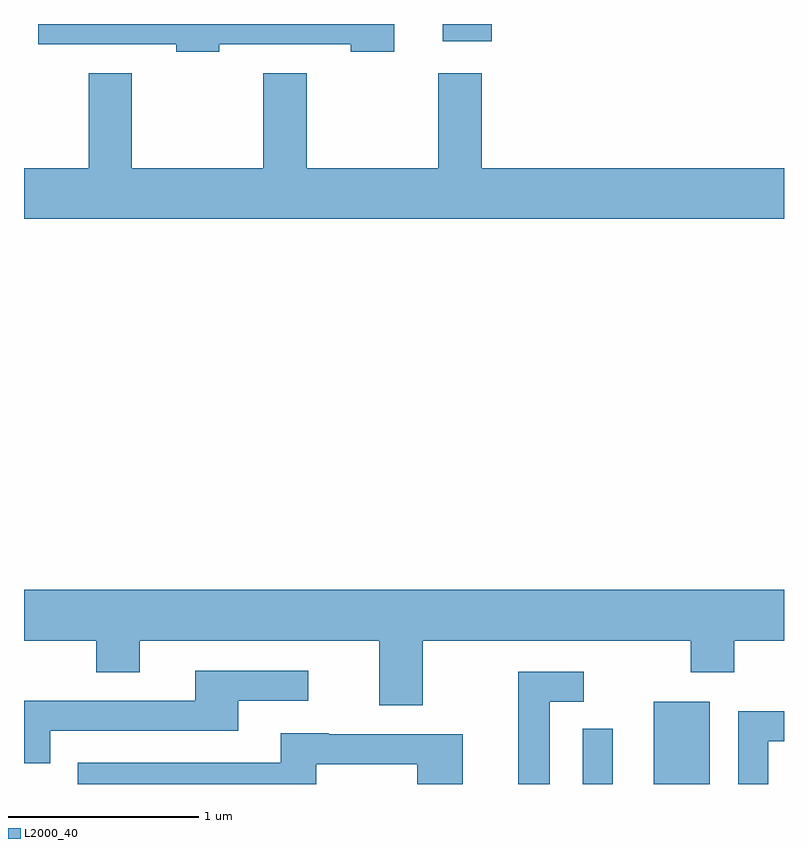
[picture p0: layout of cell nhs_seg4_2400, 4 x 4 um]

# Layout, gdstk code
import gdstk
lib = gdstk.Library(unit=1e-6, precision=1e-09)
def R(c, l, rs):  # rectangles x0, y0, x1, y1
    for r in rs: c.add(gdstk.rectangle(r[:2], r[2:], *l))
def P(c, l, *ps):  # polygons
    for p in ps: c.add(gdstk.Polygon(p, *l))
L2000_40 = (2000, 40)

nhs_seg4_2400 = lib.new_cell('nhs_seg4_2400')
R(nhs_seg4_2400, L2000_40, [(258.551,1293.982,258.709,1294.273), (258.926,1293.982,259.219,1294.414), (257.816,1297.891,258.074,1297.982)])
P(nhs_seg4_2400, L2000_40, [(256.639,1297.876),(257.331,1297.876),(257.331,1297.836),(257.559,1297.836),(257.559,1297.982),(255.686,1297.982),(255.686,1297.876),(256.411,1297.876),(256.411,1297.836),(256.639,1297.836)],
  [(259.611,1297.224),(258.019,1297.224),(258.019,1297.724),(257.791,1297.724),(257.791,1297.224),(257.099,1297.224),(257.099,1297.724),(256.871,1297.724),(256.871,1297.224),(256.179,1297.224),(256.179,1297.724),(255.951,1297.724),(255.951,1297.224),(255.611,1297.224),(255.611,1296.956),(259.611,1296.956)],
  [(257.709,1294.736),(259.121,1294.736),(259.121,1294.571),(259.349,1294.571),(259.349,1294.736),(259.611,1294.736),(259.611,1295.004),(255.611,1295.004),(255.611,1294.736),(255.991,1294.736),(255.991,1294.571),(256.219,1294.571),(256.219,1294.736),(257.481,1294.736),(257.481,1294.396),(257.709,1294.396)],
  [(255.749,1294.261),(256.739,1294.261),(256.739,1294.421),(257.108,1294.421),(257.108,1294.579),(256.511,1294.579),(256.511,1294.419),(255.611,1294.419),(255.611,1294.091),(255.749,1294.091)],
  [(258.379,1294.416),(258.558,1294.416),(258.558,1294.574),(258.211,1294.574),(258.211,1293.982),(258.379,1293.982)],
  [(259.529,1294.206),(259.611,1294.206),(259.611,1294.364),(259.371,1294.364),(259.371,1293.982),(259.529,1293.982)],
  [(257.149,1294.086),(257.681,1294.086),(257.681,1293.982),(257.919,1293.982),(257.919,1294.244),(257.215,1294.244),(257.215,1294.249),(256.961,1294.249),(256.961,1294.094),(255.893,1294.094),(255.893,1293.982),(257.149,1293.982)])

lib.write_gds('nhs_seg4_2400.gds')
